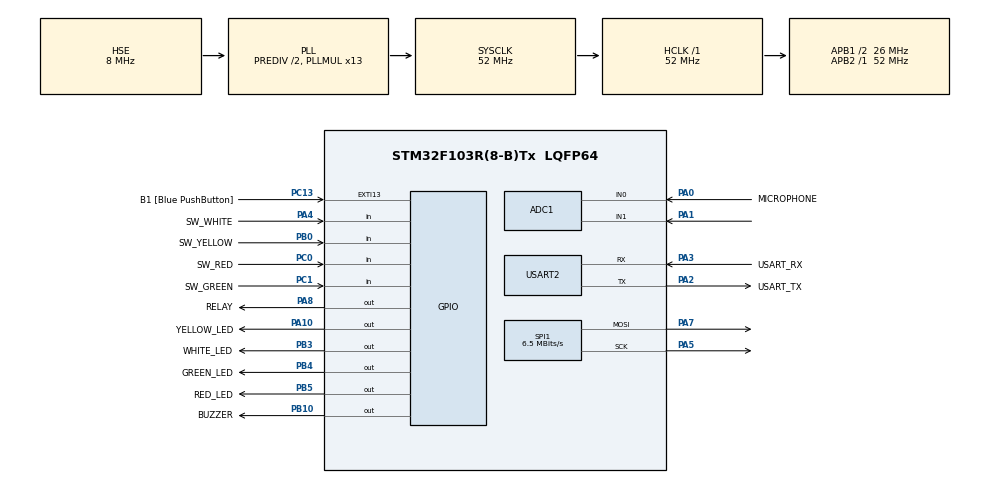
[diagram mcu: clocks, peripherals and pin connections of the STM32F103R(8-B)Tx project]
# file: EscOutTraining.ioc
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ADC1.Channel-0\#ChannelRegularConversion=ADC_CHANNEL_0
ADC1.NbrOfConversion=1
ADC1.NbrOfConversionFlag=1
ADC1.Rank-0\#ChannelRegularConversion=1
ADC1.SamplingTime-0\#ChannelRegularConversion=ADC_SAMPLETIME_239CYCLES_5
ADC1.master=1
Dma.Request0=SPI1_TX
Dma.SPI1_TX.0.Direction=DMA_MEMORY_TO_PERIPH
Dma.SPI1_TX.0.Instance=DMA1_Channel3
Dma.SPI1_TX.0.MemDataAlignment=DMA_MDATAALIGN_BYTE
Dma.SPI1_TX.0.MemInc=DMA_MINC_ENABLE
Dma.SPI1_TX.0.Mode=DMA_NORMAL
Dma.SPI1_TX.0.PeriphDataAlignment=DMA_PDATAALIGN_BYTE
Dma.SPI1_TX.0.PeriphInc=DMA_PINC_DISABLE
Dma.SPI1_TX.0.Priority=DMA_PRIORITY_VERY_HIGH
Mcu.Family=STM32F1
Mcu.Name=STM32F103R(8-B)Tx
Mcu.Package=LQFP64
NVIC.DMA1_Channel3_IRQn=true\:0\:0\:false\:false\:true\:false\:true\:true
NVIC.EXTI15_10_IRQn=true\:0\:0\:false\:false\:true\:true\:true\:true
NVIC.PriorityGroup=NVIC_PRIORITYGROUP_4
PA0-WKUP.GPIO_Label=MICROPHONE
PA0-WKUP.Signal=ADCx_IN0
PA1.Signal=ADCx_IN1
PA10.GPIO_Label=YELLOW_LED
PA10.Signal=GPIO_Output
PA13.GPIO_Label=TMS
PA13.Mode=Serial_Wire
PA13.Signal=SYS_JTMS-SWDIO
PA14.GPIO_Label=TCK
PA14.Mode=Serial_Wire
PA14.Signal=SYS_JTCK-SWCLK
PA2.GPIO_Label=USART_TX
PA2.GPIO_Mode=GPIO_MODE_AF_PP
PA2.GPIO_PuPd=GPIO_NOPULL
PA2.GPIO_Speed=GPIO_SPEED_FREQ_LOW
PA2.Mode=Asynchronous
PA2.Signal=USART2_TX
PA3.GPIO_Label=USART_RX
PA3.GPIO_Mode=GPIO_MODE_AF_PP
PA3.GPIO_PuPd=GPIO_NOPULL
PA3.GPIO_Speed=GPIO_SPEED_FREQ_LOW
PA3.Mode=Asynchronous
PA3.Signal=USART2_RX
PA4.GPIO_Label=SW_WHITE
PA4.GPIO_PuPd=GPIO_PULLUP
PA4.Signal=GPIO_Input
PA5.Mode=TX_Only_Simplex_Unidirect_Master
PA5.Signal=SPI1_SCK
PA7.Mode=TX_Only_Simplex_Unidirect_Master
PA7.Signal=SPI1_MOSI
PA8.GPIO_Label=RELAY
PA8.PinState=GPIO_PIN_SET
PA8.Signal=GPIO_Output
PB0.GPIO_Label=SW_YELLOW
PB0.GPIO_PuPd=GPIO_PULLUP
PB0.Signal=GPIO_Input
PB10.GPIO_Label=BUZZER
PB10.Signal=GPIO_Output
PB3.GPIO_Label=WHITE_LED
PB3.Signal=GPIO_Output
PB4.GPIO_Label=GREEN_LED
PB4.Signal=GPIO_Output
PB5.GPIO_Label=RED_LED
PB5.Signal=GPIO_Output
PC0.GPIO_Label=SW_RED
PC0.GPIO_PuPd=GPIO_PULLUP
PC0.Signal=GPIO_Input
PC1.GPIO_Label=SW_GREEN
PC1.GPIO_PuPd=GPIO_PULLUP
PC1.Signal=GPIO_Input
PC13-TAMPER-RTC.GPIO_Label=B1 [Blue PushButton]
PC13-TAMPER-RTC.GPIO_PuPd=GPIO_NOPULL
PC13-TAMPER-RTC.Signal=GPXTI13
PC14-OSC32_IN.Mode=LSE-External-Oscillator
PC14-OSC32_IN.Signal=RCC_OSC32_IN
PC15-OSC32_OUT.Mode=LSE-External-Oscillator
PC15-OSC32_OUT.Signal=RCC_OSC32_OUT
PD0-OSC_IN.Mode=HSE-External-Clock-Source
PD0-OSC_IN.Signal=RCC_OSC_IN
PD1-OSC_OUT.Mode=HSE-External-Clock-Source
PD1-OSC_OUT.Signal=RCC_OSC_OUT
ProjectManager.HeapSize=0x200
ProjectManager.StackSize=0x400
ProjectManager.TargetToolchain=STM32CubeIDE
RCC.ADCPresc=RCC_ADCPCLK2_DIV4
RCC.AHBFreq_Value=52000000
RCC.APB1CLKDivider=RCC_HCLK_DIV2
RCC.APB1Freq_Value=26000000
RCC.APB1TimFreq_Value=52000000
RCC.APB2Freq_Value=52000000
RCC.APB2TimFreq_Value=52000000
RCC.HCLKFreq_Value=52000000
RCC.HSEDivPLL=RCC_HSE_PREDIV_DIV2
RCC.PLLMUL=RCC_PLL_MUL13
RCC.PLLSourceVirtual=RCC_PLLSOURCE_HSE
RCC.RTCClockSelection=RCC_RTCCLKSOURCE_LSE
RCC.SYSCLKFreq_VALUE=52000000
RCC.SYSCLKSource=RCC_SYSCLKSOURCE_PLLCLK
RCC.USBFreq_Value=52000000
SH.ADCx_IN0.0=ADC1_IN0,IN0
SH.ADCx_IN1.0=ADC1_IN1,IN1
SPI1.BaudRatePrescaler=SPI_BAUDRATEPRESCALER_8
SPI1.CalculateBaudRate=6.5 MBits/s
SPI1.Direction=SPI_DIRECTION_2LINES
SPI1.Mode=SPI_MODE_MASTER
SPI1.VirtualType=VM_MASTER
USART2.VirtualMode=VM_ASYNC
board=NUCLEO-F103RB

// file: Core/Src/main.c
/* USER CODE BEGIN Header */
/**
  ******************************************************************************
  * @file           : main.c
  * @brief          : Main program body
  ******************************************************************************
  * @attention
  *
  * Copyright (c) 2023 STMicroelectronics.
  * All rights reserved.
  *
  * This software is licensed under terms that can be found in the LICENSE file
  * in the root directory of this software component.
  * If no LICENSE file comes with this software, it is provided AS-IS.
  *
  ******************************************************************************
  */
/* USER CODE END Header */
#include "main.h"
#include "adc.h"
#include "dma.h"
#include "spi.h"
#include "usart.h"
#include "gpio.h"

/* USER CODE BEGIN Includes */
#include "shout_led.h"
#include "door.h"
#include "knocking.h"
#include "button.h"
#include "buzzer.h"
/* USER CODE END Includes */

/* USER CODE BEGIN PD */
#define RAND_ARRAY_SIZE 12
/* USER CODE END PD */

/* USER CODE BEGIN PV */
button_t button_red;
button_t button_green;
button_t button_yellow;
button_t button_white;

/* USER CODE END PV */

void SystemClock_Config(void);

int main(void)
{

  /* MCU Configuration--------------------------------------------------------*/

  /* Reset of all peripherals, Initializes the Flash interface and the Systick. */

	HAL_Init();

  /* Configure the system clock */
  SystemClock_Config();

  /* Initialize all configured peripherals */
  MX_GPIO_Init();
  MX_USART2_UART_Init();
  MX_DMA_Init();
  MX_ADC1_Init();
  MX_SPI1_Init();
  /* USER CODE BEGIN 2 */
  ShoutLED_Init();
  KNOCKING_Init();
  BUTTON_Init(&button_red, SW_RED_GPIO_Port, SW_RED_Pin, RED_LED_GPIO_Port, RED_LED_Pin);
  BUTTON_Init(&button_green, SW_GREEN_GPIO_Port, SW_GREEN_Pin, GREEN_LED_GPIO_Port, GREEN_LED_Pin);
  BUTTON_Init(&button_yellow, SW_YELLOW_GPIO_Port, SW_YELLOW_Pin, YELLOW_LED_GPIO_Port, YELLOW_LED_Pin);
  BUTTON_Init(&button_white, SW_WHITE_GPIO_Port, SW_WHITE_Pin, WHITE_LED_GPIO_Port, WHITE_LED_Pin);

  uint8_t const rand_array[RAND_ARRAY_SIZE] = {0, 1, 2, 3, 0, 1, 2, 3 , 0, 1, 2, 3};
  //uint8_t const rand_array[RAND_ARRAY_SIZE] = {0, 3, 0, 1, 3, 2, 0, 2, 3, 2, 1, 0};
  uint8_t rand_index = 0;
  BUZZER_Go(TBUZ_500, TICK_1);
  HAL_Delay(500);
  BUZZER_Go(TBUZ_500, TICK_2);
  HAL_Delay(500);
  BUZZER_Go(TBUZ_500, TICK_4);
  HAL_Delay(500);
  BUZZER_Go(TBUZ_500, TICK_6);
  HAL_Delay(500);
  BUZZER_Go(TBUZ_100, TICK_8);
  HAL_Delay(500);
  /* USER CODE END 2 */

  /* Infinite loop */
  /* USER CODE BEGIN WHILE */
  while (1)
  {
	  //ShoutLED_Process();
	  //KNOCKING_Process();
	  //DOOR_Process();
	  BUTTON_Process(&button_red);
	  BUTTON_Process(&button_green);
	  BUTTON_Process(&button_yellow);
	  BUTTON_Process(&button_white);

	  if(button_red.button_led_state == BUTTON_LED_IDLE
		&& button_green.button_led_state == BUTTON_LED_IDLE
		&& button_yellow.button_led_state == BUTTON_LED_IDLE
		&& button_white.button_led_state == BUTTON_LED_IDLE)
	  {
		  if(rand_array[rand_index] == 0)
			  BUTTON_LED_SetState(&button_red, BUTTON_LED_BLINK);
		  else if(rand_array[rand_index] == 1)
			  BUTTON_LED_SetState(&button_green, BUTTON_LED_BLINK);
		  else if(rand_array[rand_index] == 2)
			  BUTTON_LED_SetState(&button_yellow, BUTTON_LED_BLINK);
		  else if(rand_array[rand_index] == 3)
			  BUTTON_LED_SetState(&button_white, BUTTON_LED_BLINK);
		  rand_index++;
		  rand_index=rand_index%RAND_ARRAY_SIZE;
	  }

    /* USER CODE END WHILE */

  }
}

void SystemClock_Config(void)
{
  RCC_OscInitTypeDef RCC_OscInitStruct = {0};
  RCC_ClkInitTypeDef RCC_ClkInitStruct = {0};
  RCC_PeriphCLKInitTypeDef PeriphClkInit = {0};

  /** Initializes the RCC Oscillators according to the specified parameters
  * in the RCC_OscInitTypeDef structure.
  */
  RCC_OscInitStruct.OscillatorType = RCC_OSCILLATORTYPE_HSE;
  RCC_OscInitStruct.HSEState = RCC_HSE_BYPASS;
  RCC_OscInitStruct.HSEPredivValue = RCC_HSE_PREDIV_DIV2;
  RCC_OscInitStruct.HSIState = RCC_HSI_ON;
  RCC_OscInitStruct.PLL.PLLState = RCC_PLL_ON;
  RCC_OscInitStruct.PLL.PLLSource = RCC_PLLSOURCE_HSE;
  RCC_OscInitStruct.PLL.PLLMUL = RCC_PLL_MUL13;
  if (HAL_RCC_OscConfig(&RCC_OscInitStruct) != HAL_OK)
  {
    Error_Handler();
  }

  /** Initializes the CPU, AHB and APB buses clocks
  */
  RCC_ClkInitStruct.ClockType = RCC_CLOCKTYPE_HCLK|RCC_CLOCKTYPE_SYSCLK
                              |RCC_CLOCKTYPE_PCLK1|RCC_CLOCKTYPE_PCLK2;
  RCC_ClkInitStruct.SYSCLKSource = RCC_SYSCLKSOURCE_PLLCLK;
  RCC_ClkInitStruct.AHBCLKDivider = RCC_SYSCLK_DIV1;
  RCC_ClkInitStruct.APB1CLKDivider = RCC_HCLK_DIV2;
  RCC_ClkInitStruct.APB2CLKDivider = RCC_HCLK_DIV1;

  if (HAL_RCC_ClockConfig(&RCC_ClkInitStruct, FLASH_LATENCY_2) != HAL_OK)
  {
    Error_Handler();
  }
  PeriphClkInit.PeriphClockSelection = RCC_PERIPHCLK_ADC;
  PeriphClkInit.AdcClockSelection = RCC_ADCPCLK2_DIV4;
  if (HAL_RCCEx_PeriphCLKConfig(&PeriphClkInit) != HAL_OK)
  {
    Error_Handler();
  }
}

void Error_Handler(void)
{
  __disable_irq();
  while (1)
  {
  }
}
